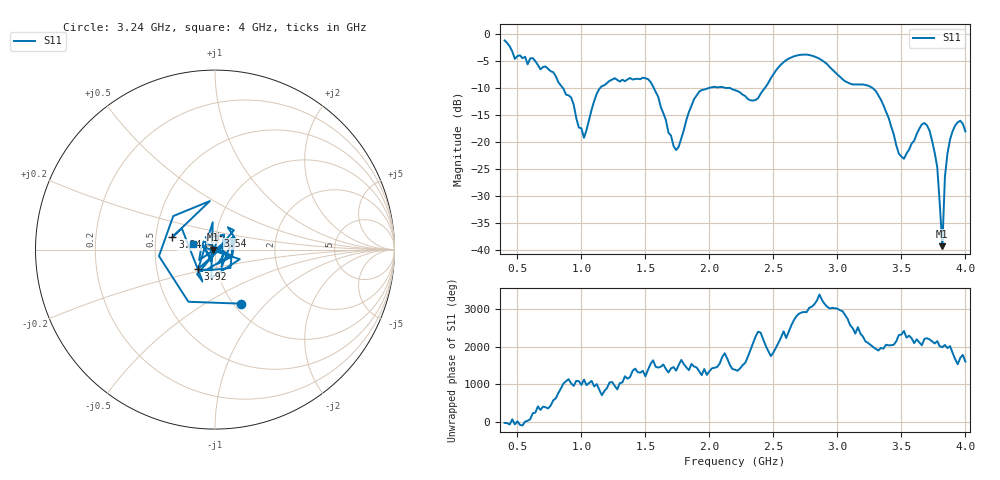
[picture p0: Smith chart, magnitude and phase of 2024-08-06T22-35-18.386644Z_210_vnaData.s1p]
!Created with skrf (http://scikit-rf.org).
# Hz S RI R 50.0
!freq ReS11 ImS11
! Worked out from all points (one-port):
!   181 points, 400 MHz to 4 GHz, reference 50 ohm
!   lowest |S11| = -39.3 dB at 3.82 GHz (marker M1), VSWR 1.02, Z = 48.9 - j0.107 ohm
!   |S11| at or under -10 dB: 857.1 MHz to 1.144 GHz (287.3 MHz wide, 28.7 % of centre); 1.567 GHz to 1.989 GHz (422.6 MHz wide, 23.8 % of centre); 3.277 GHz to end of sweep (the widest 3 of 4)
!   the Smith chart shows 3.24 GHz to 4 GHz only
!   S11 on the Smith chart (normalised r, x): 3.24 GHz: 1.08, -0.73; 3.34 GHz: 0.61, +0.09; 3.54 GHz: 1.02, +0.16; 3.92 GHz: 0.81, -0.18; 4 GHz: 0.78, +0.05
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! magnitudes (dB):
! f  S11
! 400 MHz  -1.1
! 480 MHz  -4.5
! 620 MHz  -4.4
! 860 MHz  -10.1
! 1.02 GHz  -19.2
! 1.14 GHz  -10.1
! 1.3 GHz  -8.8
! 1.54 GHz  -8.8
! 1.72 GHz  -20.7
! 1.76 GHz  -20.8
! 1.92 GHz  -10.6
! 2.2 GHz  -10.4
! 2.36 GHz  -12.2
! 2.66 GHz  -4.1
! 3.1 GHz  -9.1
! 3.24 GHz  -9.5
! 3.34 GHz  -12.1
! 3.48 GHz  -22.1
! 3.54 GHz  -22.1
! 3.56 GHz  -21.4
! 3.66 GHz  -16.7
! 3.72 GHz  -17.9
! 3.78 GHz  -24.6
! 3.82 GHz  -39.3
! 3.84 GHz  -26.4
! 3.88 GHz  -19.5
! 3.92 GHz  -16.9
! 4 GHz  -18.0
